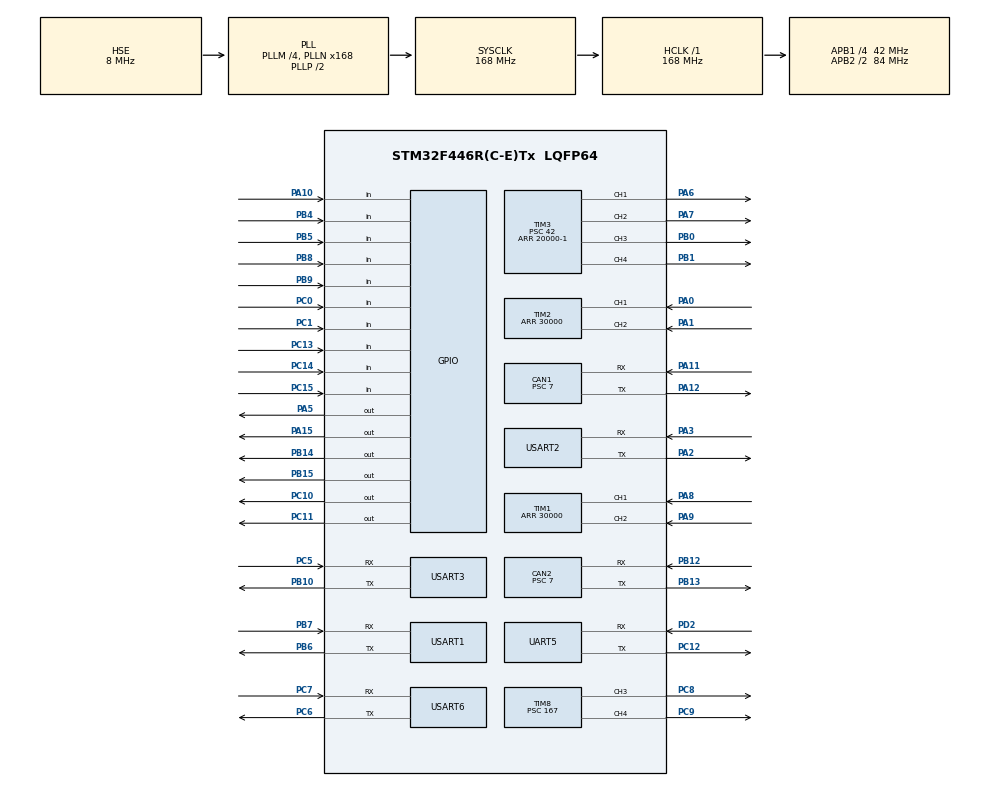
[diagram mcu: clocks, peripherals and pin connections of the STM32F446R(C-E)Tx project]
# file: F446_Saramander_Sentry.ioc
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CAN1.BS1=CAN_BS1_2TQ
CAN1.BS2=CAN_BS2_3TQ
CAN1.CalculateTimeQuantum=166.66666666666669
CAN1.Prescaler=7
CAN2.BS1=CAN_BS1_2TQ
CAN2.BS2=CAN_BS2_3TQ
CAN2.CalculateTimeQuantum=166.66666666666669
CAN2.Prescaler=7
Dma.Request0=USART3_RX
Dma.USART3_RX.0.Direction=DMA_PERIPH_TO_MEMORY
Dma.USART3_RX.0.FIFOMode=DMA_FIFOMODE_DISABLE
Dma.USART3_RX.0.Instance=DMA1_Stream1
Dma.USART3_RX.0.MemDataAlignment=DMA_MDATAALIGN_BYTE
Dma.USART3_RX.0.MemInc=DMA_MINC_ENABLE
Dma.USART3_RX.0.Mode=DMA_CIRCULAR
Dma.USART3_RX.0.PeriphDataAlignment=DMA_PDATAALIGN_BYTE
Dma.USART3_RX.0.PeriphInc=DMA_PINC_DISABLE
Dma.USART3_RX.0.Priority=DMA_PRIORITY_LOW
Mcu.Family=STM32F4
Mcu.Name=STM32F446R(C-E)Tx
Mcu.Package=LQFP64
NVIC.CAN1_RX0_IRQn=true\:1\:0\:true\:false\:true\:true\:true
NVIC.CAN1_RX1_IRQn=true\:2\:0\:true\:false\:true\:true\:true
NVIC.CAN2_RX0_IRQn=true\:3\:0\:true\:false\:true\:true\:true
NVIC.CAN2_RX1_IRQn=true\:4\:0\:true\:false\:true\:true\:true
NVIC.DMA1_Stream1_IRQn=true\:5\:0\:true\:false\:true\:false\:true
NVIC.PriorityGroup=NVIC_PRIORITYGROUP_4
NVIC.TIM7_IRQn=true\:6\:0\:true\:false\:true\:true\:true
PA0-WKUP.Signal=S_TIM2_CH1_ETR
PA1.Signal=S_TIM2_CH2
PA10.Signal=GPIO_Input
PA11.Mode=Master
PA11.Signal=CAN1_RX
PA12.Mode=Master
PA12.Signal=CAN1_TX
PA13.Mode=Serial_Wire
PA13.Signal=SYS_JTMS-SWDIO
PA14.Mode=Serial_Wire
PA14.Signal=SYS_JTCK-SWCLK
PA15.Signal=GPIO_Output
PA2.Mode=Asynchronous
PA2.Signal=USART2_TX
PA3.Mode=Asynchronous
PA3.Signal=USART2_RX
PA5.Signal=GPIO_Output
PA6.Signal=S_TIM3_CH1
PA7.Signal=S_TIM3_CH2
PA8.Signal=S_TIM1_CH1
PA9.Signal=S_TIM1_CH2
PB0.Signal=S_TIM3_CH3
PB1.Signal=S_TIM3_CH4
PB10.Mode=Asynchronous
PB10.Signal=USART3_TX
PB12.Mode=Slave
PB12.Signal=CAN2_RX
PB13.Mode=Slave
PB13.Signal=CAN2_TX
PB14.Signal=GPIO_Output
PB15.Signal=GPIO_Output
PB4.Signal=GPIO_Input
PB5.Signal=GPIO_Input
PB6.Mode=Asynchronous
PB6.Signal=USART1_TX
PB7.Mode=Asynchronous
PB7.Signal=USART1_RX
PB8.Signal=GPIO_Input
PB9.Signal=GPIO_Input
PC0.Signal=GPIO_Input
PC1.Signal=GPIO_Input
PC10.Signal=GPIO_Output
PC11.Signal=GPIO_Output
PC12.Mode=Asynchronous
PC12.Signal=UART5_TX
PC13.Signal=GPIO_Input
PC14-OSC32_IN.Signal=GPIO_Input
PC15-OSC32_OUT.Signal=GPIO_Input
PC5.Mode=Asynchronous
PC5.Signal=USART3_RX
PC6.Mode=Asynchronous
PC6.Signal=USART6_TX
PC7.Mode=Asynchronous
PC7.Signal=USART6_RX
PC8.Signal=S_TIM8_CH3
PC9.Signal=S_TIM8_CH4
PD2.Mode=Asynchronous
PD2.Signal=UART5_RX
PH0-OSC_IN.Mode=HSE-External-Oscillator
PH0-OSC_IN.Signal=RCC_OSC_IN
PH1-OSC_OUT.Mode=HSE-External-Oscillator
PH1-OSC_OUT.Signal=RCC_OSC_OUT
ProjectManager.HeapSize=0x200
ProjectManager.StackSize=0x400
ProjectManager.TargetToolchain=STM32CubeIDE
RCC.AHBFreq_Value=168000000
RCC.APB1CLKDivider=RCC_HCLK_DIV4
RCC.APB1Freq_Value=42000000
RCC.APB1TimFreq_Value=84000000
RCC.APB2CLKDivider=RCC_HCLK_DIV2
RCC.APB2Freq_Value=84000000
RCC.APB2TimFreq_Value=168000000
RCC.CortexFreq_Value=168000000
RCC.HCLKFreq_Value=168000000
RCC.HSE_VALUE=8000000
RCC.PLLM=4
RCC.PLLN=168
RCC.PLLSourceVirtual=RCC_PLLSOURCE_HSE
RCC.SYSCLKFreq_VALUE=168000000
RCC.SYSCLKSource=RCC_SYSCLKSOURCE_PLLCLK
RCC.USBFreq_Value=168000000
RCC.VCOOutputFreq_Value=336000000
SH.S_TIM1_CH1.0=TIM1_CH1,Encoder_Interface
SH.S_TIM1_CH2.0=TIM1_CH2,Encoder_Interface
SH.S_TIM2_CH1_ETR.0=TIM2_CH1,Encoder_Interface
SH.S_TIM2_CH2.0=TIM2_CH2,Encoder_Interface
SH.S_TIM3_CH1.0=TIM3_CH1,PWM Generation1 CH1
SH.S_TIM3_CH2.0=TIM3_CH2,PWM Generation2 CH2
SH.S_TIM3_CH3.0=TIM3_CH3,PWM Generation3 CH3
SH.S_TIM3_CH4.0=TIM3_CH4,PWM Generation4 CH4
SH.S_TIM8_CH3.0=TIM8_CH3,PWM Generation3 CH3
SH.S_TIM8_CH4.0=TIM8_CH4,PWM Generation4 CH4
TIM1.Period=30000
TIM2.Period=30000
TIM3.Channel-PWM\ Generation1\ CH1=TIM_CHANNEL_1
TIM3.Channel-PWM\ Generation2\ CH2=TIM_CHANNEL_2
TIM3.Channel-PWM\ Generation3\ CH3=TIM_CHANNEL_3
TIM3.Channel-PWM\ Generation4\ CH4=TIM_CHANNEL_4
TIM3.Period=20000-1
TIM3.Prescaler=42
TIM7.Period=16800
TIM7.Prescaler=5-1
TIM8.Channel-PWM\ Generation3\ CH3=TIM_CHANNEL_3
TIM8.Channel-PWM\ Generation4\ CH4=TIM_CHANNEL_4
TIM8.Period=20000-1
TIM8.Prescaler=167
UART5.Parity=PARITY_EVEN
UART5.VirtualMode=Asynchronous
UART5.WordLength=WORDLENGTH_9B
USART1.VirtualMode=VM_ASYNC
USART2.VirtualMode=VM_ASYNC
USART3.VirtualMode=VM_ASYNC
USART6.VirtualMode=VM_ASYNC
VP_TIM7_VS_ClockSourceINT.Mode=Enable_Timer
board=custom

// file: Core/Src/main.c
/* USER CODE BEGIN Header */
/**
  ******************************************************************************
  * @file           : main.c
  * @brief          : Main program body
  ******************************************************************************
  * @attention
  *
  * <h2><center>&copy; Copyright (c) 2020 STMicroelectronics.
  * All rights reserved.</center></h2>
  *
  * This software component is licensed by ST under BSD 3-Clause license,
  * the "License"; You may not use this file except in compliance with the
  * License. You may obtain a copy of the License at:
  *                        opensource.org/licenses/BSD-3-Clause
  *
  ******************************************************************************
  */
/* USER CODE END Header */

#include "main.h"
#include "can.h"
#include "dma.h"
#include "tim.h"
#include "usart.h"
#include "gpio.h"

/* USER CODE BEGIN Includes */
#include "management.h"
/* USER CODE END Includes */

/* USER CODE BEGIN PTD */
#ifdef __GNUC__
#define PUTCHAR_PROTOTYPE int __io_putchar(int ch)
#else
#define PUTCHAR_PROTOTYPE int fputc(int ch, FILE *f)
#endif /* __GNUC__ */
void __io_putchar(uint8_t ch) {
HAL_UART_Transmit(&huart1, &ch, 1, 1);
}
/* USER CODE END PTD */

void SystemClock_Config(void);

/* USER CODE BEGIN 0 */
uint8_t program_No;
uint8_t start_sw,move_fire,sw1,sw2,limit_sw1,limit_sw2;
uint8_t cnt_tim,cnt_tim_fire,cnt_tim_task,cnt_time_main,cnt_task_servo;
uint8_t cnt_tim_servo;
void HAL_CAN_RxFifo0MsgPendingCallback(CAN_HandleTypeDef *hcan);
void driveWheelTask();
void initFriction();
void initPID();
void initLoadPID();
void timerTask();
void Gimbal_Task();
void fire_Task();
void initCanFilter() ;
long map(long x, long in_min, long in_max, long out_min, long out_max);

int cnt_tim1;
/* USER CODE END 0 */

int main(void)
{

  /* MCU Configuration--------------------------------------------------------*/

  /* Reset of all peripherals, Initializes the Flash interface and the Systick. */
  HAL_Init();

  /* USER CODE BEGIN Init */
  //No0:not move any-time shoot
  //No1:put center use Cam and shoot
  //No2:put random use Cam and shoot
  /* USER CODE END Init */

  /* Configure the system clock */
  SystemClock_Config();

  /* Initialize all configured peripherals */
  MX_GPIO_Init();
  MX_DMA_Init();
  MX_CAN1_Init();
  MX_CAN2_Init();
  MX_TIM1_Init();
  MX_TIM2_Init();
  MX_TIM3_Init();
  MX_TIM7_Init();
  MX_TIM8_Init();
  MX_UART5_Init();
  MX_USART1_UART_Init();
  MX_USART2_UART_Init();
  MX_USART3_UART_Init();
  MX_USART6_UART_Init();
  /* USER CODE BEGIN 2 */
  setbuf(stdout, NULL);
  sConfigOC.Pulse = 1500;
  HAL_TIM_PWM_ConfigChannel(&htim8, &sConfigOC, TIM_CHANNEL_3);
  HAL_TIM_PWM_Start(&htim8, TIM_CHANNEL_3);
  sConfigOC.Pulse = 1500;
  HAL_TIM_PWM_ConfigChannel(&htim8, &sConfigOC, TIM_CHANNEL_4);
  HAL_TIM_PWM_Start(&htim8, TIM_CHANNEL_4);
  sConfigOC.Pulse = 1500;
  HAL_TIM_PWM_ConfigChannel(&htim3, &sConfigOC, TIM_CHANNEL_1);
  HAL_TIM_PWM_Start(&htim3, TIM_CHANNEL_1);
  sConfigOC.Pulse = 1500;
  HAL_TIM_PWM_ConfigChannel(&htim3, &sConfigOC, TIM_CHANNEL_2);
  HAL_TIM_PWM_Start(&htim3, TIM_CHANNEL_2);
  sConfigOC.Pulse = 1500;
  HAL_TIM_PWM_ConfigChannel(&htim3, &sConfigOC, TIM_CHANNEL_3);
  HAL_TIM_PWM_Start(&htim3, TIM_CHANNEL_3);
  sConfigOC.Pulse = 1500;
  HAL_TIM_PWM_ConfigChannel(&htim3, &sConfigOC, TIM_CHANNEL_4);
  HAL_TIM_PWM_Start(&htim3, TIM_CHANNEL_4);
  if(HAL_TIM_Encoder_Init(&htim1, &sConfig) != HAL_OK){Error_Handler();}
  HAL_TIM_Encoder_Start(&htim1, TIM_CHANNEL_ALL);
  TIM1->CNT=15000;
  if(HAL_TIM_Encoder_Init(&htim2, &sConfig) != HAL_OK){Error_Handler();}
  HAL_TIM_Encoder_Start(&htim2, TIM_CHANNEL_ALL);
  TIM2->CNT=15000;
  HAL_CAN_Start(&hcan1);
  if (HAL_CAN_ActivateNotification(&hcan1, CAN_IT_RX_FIFO0_MSG_PENDING) != HAL_OK){Error_Handler();}
  HAL_CAN_Start(&hcan2);
  if (HAL_CAN_ActivateNotification(&hcan2, CAN_IT_RX_FIFO0_MSG_PENDING) != HAL_OK){Error_Handler();}
  HAL_Delay(1000);
  initPID();
  initLoadPID();
  initCanFilter();
  HAL_UART_Receive_DMA(&huart3,(uint8_t*) Rxbuf_jetson, 7);
  initFriction();
  fire=0.0;
  torque_sum=0.0;
  target_pit=90;
  target_yaw=90;
  target_place=2325;
  HAL_TIM_Base_Start_IT(&htim7);
  program_No=!HAL_GPIO_ReadPin(GPIOB, GPIO_PIN_9)+!HAL_GPIO_ReadPin(GPIOB, GPIO_PIN_8)*2+
 				!HAL_GPIO_ReadPin(GPIOC, GPIO_PIN_13)*4+!HAL_GPIO_ReadPin(GPIOC, GPIO_PIN_14)*8;

	target_pit=70;
	target_yaw=90;
	target_pit_temp=map(target_pit,180,0,4833,10166);
	target_yaw_temp=map(target_yaw,180,0,4833,10166);

  /* USER CODE END 2 */

  /* Infinite loop */
  while (1)
  {

    /* USER CODE BEGIN 3 */
	 //HAL_GPIO_TogglePin(GPIOC, GPIO_PIN_10);
	  HAL_GPIO_WritePin(GPIOA, GPIO_PIN_15,start_sw);
	  //HAL_GPIO_TogglePin(GPIOB, GPIO_PIN_15);
	  printf("start=%d ",start_sw);
	  printf(" E1=%d",(int)TIM1->CNT);
	  printf(" X=%d Y=%d cnt=%d check=%d pit=%d yaw=%d",target_X,target_Y,cnt_tartget,data_Jetson[5],target_pit,target_yaw);
	  printf(" torque_sum=%f cnt_tim1=%d",torque_sum,cnt_tim_servo);
//	 / printf(" sw1=%d sw2=%d",limit_sw1,limit_sw2);
	  //printf(" =%d",ics_set_pos(1,7500));
	  //printf(" =%d",ics_set_pos(2,7500));
	  printf("\r\n");
	  target_X=((data_Jetson[0]<<8) | data_Jetson[1])- 32767;
	  	target_Y=((data_Jetson[2]<<8) | data_Jetson[3])- 32767;
	  	cnt_tartget=data_Jetson[4];

		if(limit_sw1==0){TIM1->CNT=15000;}
		if(limit_sw2==0){TIM1->CNT=16800;}
  }
  /* USER CODE END 3 */
}

void SystemClock_Config(void)
{
  RCC_OscInitTypeDef RCC_OscInitStruct = {0};
  RCC_ClkInitTypeDef RCC_ClkInitStruct = {0};

  /** Configure the main internal regulator output voltage
  */
  __HAL_RCC_PWR_CLK_ENABLE();
  __HAL_PWR_VOLTAGESCALING_CONFIG(PWR_REGULATOR_VOLTAGE_SCALE1);
  /** Initializes the CPU, AHB and APB busses clocks
  */
  RCC_OscInitStruct.OscillatorType = RCC_OSCILLATORTYPE_HSE;
  RCC_OscInitStruct.HSEState = RCC_HSE_ON;
  RCC_OscInitStruct.PLL.PLLState = RCC_PLL_ON;
  RCC_OscInitStruct.PLL.PLLSource = RCC_PLLSOURCE_HSE;
  RCC_OscInitStruct.PLL.PLLM = 4;
  RCC_OscInitStruct.PLL.PLLN = 168;
  RCC_OscInitStruct.PLL.PLLP = RCC_PLLP_DIV2;
  RCC_OscInitStruct.PLL.PLLQ = 2;
  RCC_OscInitStruct.PLL.PLLR = 2;
  if (HAL_RCC_OscConfig(&RCC_OscInitStruct) != HAL_OK)
  {
    Error_Handler();
  }
  /** Initializes the CPU, AHB and APB busses clocks
  */
  RCC_ClkInitStruct.ClockType = RCC_CLOCKTYPE_HCLK|RCC_CLOCKTYPE_SYSCLK
                              |RCC_CLOCKTYPE_PCLK1|RCC_CLOCKTYPE_PCLK2;
  RCC_ClkInitStruct.SYSCLKSource = RCC_SYSCLKSOURCE_PLLCLK;
  RCC_ClkInitStruct.AHBCLKDivider = RCC_SYSCLK_DIV1;
  RCC_ClkInitStruct.APB1CLKDivider = RCC_HCLK_DIV4;
  RCC_ClkInitStruct.APB2CLKDivider = RCC_HCLK_DIV2;

  if (HAL_RCC_ClockConfig(&RCC_ClkInitStruct, FLASH_LATENCY_5) != HAL_OK)
  {
    Error_Handler();
  }
}

/* USER CODE BEGIN 4 */
void HAL_TIM_PeriodElapsedCallback(TIM_HandleTypeDef *htim) {
	if (htim->Instance == htim7.Instance) {
		//1kHz
		if(cnt_tim_task>1){
		//500Hz
		timerTask();
		cnt_tim_task=0;
		}
		cnt_tim_task++;
		if(cnt_tim>100){
			HAL_GPIO_TogglePin(GPIOA, GPIO_PIN_5);
			cnt_tim=0;
			if(temp_data_Jetson!=data_Jetson[5]){
				HAL_GPIO_WritePin(GPIOB, GPIO_PIN_14,1);
				jetson_connect=1;
			}
			else{
				jetson_connect=0;
				HAL_GPIO_WritePin(GPIOB, GPIO_PIN_14,0);
				data_Jetson[0]=0;
				data_Jetson[1]=0;
				data_Jetson[2]=0;
				data_Jetson[3]=0;
				data_Jetson[4]=0;
			}
			temp_data_Jetson=data_Jetson[5];
		}

		cnt_tim++;
	}
}

void HAL_CAN_RxFifo0MsgPendingCallback(CAN_HandleTypeDef *hcan) {
	/* Get RX message */
	if (hcan->Instance == hcan2.Instance) {// can2 bus receive interrupt
		HAL_CAN_GetRxMessage(hcan, CAN_RX_FIFO0, &canRxHeader, canRxData);
		//check ESC identifier
		int id = canRxHeader.StdId - 513;

		wheelFdb[id].angle = canRxData[0] * 256 + canRxData[1];
		wheelFdb[id].rpm = canRxData[2] * 256 + canRxData[3];
		wheelFdb[id].torque = canRxData[4] * 256 + canRxData[5];
		wheelFdb[id].temp = canRxData[6];
		wheelFdb[id].omg = 6.28318530718 * (wheelFdb[id].rpm) / 1140.0;
	}
	if (hcan->Instance == hcan1.Instance) {// can1 bus receive interrupt
		HAL_CAN_GetRxMessage(hcan, CAN_RX_FIFO0, &canRxHeader, canRxData);
		motor_fdb *fdb = 0;
		switch (canRxHeader.StdId) {
		case 0x205:
			fdb = &gimbalYawFdb;
			break;
		case 0x206:
			fdb = &gimbalPitchFdb;
			break;
		case 0x207:
			fdb = &loadMotorFdb;
			break;
		}
		fdb->angle = canRxData[0] * 256 + canRxData[1];
		fdb->rpm = canRxData[2] * 256 + canRxData[3];
		fdb->torque = canRxData[4] * 256 + canRxData[5];
		fdb->temp = canRxData[6];
		fdb->omg = 6.28318530718 * (fdb->rpm) / 1140.0;
	}
}

void HAL_UART_RxCpltCallback(UART_HandleTypeDef *UartHandle) {
	uint8_t j = 0;
	while (Rxbuf_jetson[j] != 253 &&  j<sizeof(Rxbuf_jetson)) {
		j++;
	}
	if(j>=sizeof(Rxbuf_jetson)){
		for(uint8_t k=0;k<(sizeof(data_Jetson));k++){
			data_Jetson[k]=0;
		}
	}
	else{
		for (uint8_t k = 0; k < sizeof(data_Jetson); k++) {
			if ((j + k) >= sizeof(data_Jetson)) {
				data_Jetson[k] = Rxbuf_jetson[k - (sizeof(data_Jetson) - j)];
			}
			else {
				data_Jetson[k] = Rxbuf_jetson[j + k + 1];
			}
		}
	}

}

void timerTask() { //call 500Hz
	driveWheelTask();
	Gimbal_Task();
	fire_Task();
	limit_sw1=HAL_GPIO_ReadPin(GPIOC, GPIO_PIN_15);
	limit_sw2=HAL_GPIO_ReadPin(GPIOC, GPIO_PIN_0);
	start_sw=HAL_GPIO_ReadPin(GPIOC, GPIO_PIN_1);
	move_fire=HAL_GPIO_ReadPin(GPIOB, GPIO_PIN_5);
	sw1=HAL_GPIO_ReadPin(GPIOB, GPIO_PIN_4);
	sw2=HAL_GPIO_ReadPin(GPIOA, GPIO_PIN_10);
	program_No=!HAL_GPIO_ReadPin(GPIOB, GPIO_PIN_9)+!HAL_GPIO_ReadPin(GPIOB, GPIO_PIN_8)*2+
	 				!HAL_GPIO_ReadPin(GPIOC, GPIO_PIN_13)*4+!HAL_GPIO_ReadPin(GPIOC, GPIO_PIN_14)*8;
}

void driveWheelTask() {
	int16_t u[4];
	cnt_tim1=15000-TIM1->CNT;
	if(start_sw==0){
		if(program_No==0){
			//target_place=2325;
			target_place=15000-TIM1->CNT;
		}
		else if(program_No==1){
			target_place=900;
		}
		else if(program_No==2){
			if(abs((int)target_place-cnt_tim1)<10){target_place=(int)(rand()*(1300.0-500.0+1.0)/(1.0+RAND_MAX));}
			if(target_place>1300){target_place=1300;}
			if(target_place<500){target_place=500;}
		}
		else{target_place=15000-TIM1->CNT;}

		if(limit_sw1==0){TIM1->CNT=15000;}
		if(limit_sw2==0){TIM1->CNT=16800;}

		if(abs((int)target_place-cnt_tim1)<10){
			mecanum.wheel_rpm[0]=0.0;
			mecanum.wheel_rpm[1]=0.0;
		}
		else if(((int)target_place-cnt_tim1)<0){
			if((float)abs((int)cnt_tim1-target_place)>1500){
				mecanum.wheel_rpm[0]=4000;
				mecanum.wheel_rpm[1]=4000;
			}
			else{
				mecanum.wheel_rpm[0]=(float)map(abs((int)cnt_tim1-target_place),0,1500,1000,4000);
				mecanum.wheel_rpm[1]=(float)map(abs((int)cnt_tim1-target_place),0,1500,1000,4000);
			}
		}
		else if(((int)target_place-cnt_tim1)>0){
			if((float)abs((int)cnt_tim1-target_place)>1500){
				mecanum.wheel_rpm[0]=-4000;
				mecanum.wheel_rpm[1]=-4000;
			}
			else{
				mecanum.wheel_rpm[0]=(float)-1.0*map(abs((int)cnt_tim1-target_place),0,1500,1000,4000);
				mecanum.wheel_rpm[1]=(float)-1.0*map(abs((int)cnt_tim1-target_place),0,1500,1000,4000);
			}
		}
		else{
			mecanum.wheel_rpm[0]=0.0;
			mecanum.wheel_rpm[1]=0.0;
		}

		if(sw1==0){
			mecanum.wheel_rpm[0]=1200;
			mecanum.wheel_rpm[1]=1200;
			target_place=15000-TIM1->CNT;
		}
		else if(sw2==0){
			mecanum.wheel_rpm[0]=-1200;
			mecanum.wheel_rpm[1]=-1200;
			target_place=15000-TIM1->CNT;
		}

	}
	else{
		mecanum.wheel_rpm[0]=0.0;
		mecanum.wheel_rpm[1]=0.0;
	}

	    torque_sum = fabs((float)wheelFdb[0].torque/16384.0*20.0)+fabs((float)wheelFdb[1].torque/16384.0*20.0);
	for (int i = 0; i < 2; i++) {
		int error = mecanum.wheel_rpm[i] - wheelFdb[i].rpm;
		wheelPID[i].error = error;
		u[i] = (int16_t) pidExecute(&(wheelPID[i]));

		if(torque_sum>2.5){
			for (int i = 0; i < 2; i++) {
				u[i] = 0;
			}
		}
	}
	driveWheel(u);
}
void Gimbal_Task(){
	if(cnt_task_servo>30){
		if(start_sw==0){
			if(program_No>0){
				if(jetson_connect==1){
					if(cnt_tartget>0){
							target_yaw=target_yaw-map(target_X,480,-480,30,-30);
							target_pit=target_pit-map(target_Y,360,-360,30,-30);

							if(target_yaw>160){target_yaw=160;}
							if(target_yaw<20){target_yaw=20;}
							if(target_pit>90){target_pit=90;}
							if(target_pit<45){target_pit=45;}

							target_pit_temp=map(target_pit,180,0,4833,10166);
							target_yaw_temp=map(target_yaw,180,0,4833,10166);
							now_pit=ics_set_pos(2,target_pit_temp);
							now_yaw=ics_set_pos(1,target_yaw_temp);

							if(abs(target_X)<20 && abs(target_X)<20){
								fire=1.0;
							}
							else{
								fire=0.0;
							}
							cnt_tim_servo=0;
					}
					else{
						if(cnt_tim_servo>20){
							target_pit=70;
							target_yaw=90;
							target_pit_temp=map(target_pit,180,0,4833,10166);
							target_yaw_temp=map(target_yaw,180,0,4833,10166);
							now_pit=ics_set_pos(2,target_pit_temp);
							now_yaw=ics_set_pos(1,target_yaw_temp);
							cnt_tim_servo=0;
						}
						else{
						now_pit=ics_set_pos(2,target_pit_temp);
						now_yaw=ics_set_pos(1,target_yaw_temp);
						fire=0.0;
						cnt_tim_servo++;
						}
					}
				}
			}
			else if(start_sw==0){
				cnt_tim_servo=0;
				ics_set_pos(2,map(80,180,0,4833,10166));
				ics_set_pos(1,map(90,180,0,4833,10166));
				target_pit=90;
				target_yaw=90;
				fire=1.0;

			}
			else{
				cnt_tim_servo=0;
				ics_set_pos(2,map(90,180,0,4833,10166));
				ics_set_pos(1,map(90,180,0,4833,10166));
				target_pit=90;
				target_yaw=90;
				fire=0.0;
			}
		}
		else{
			cnt_tim_servo=0;
			ics_set_pos(2,map(90,180,0,4833,10166));
			ics_set_pos(1,map(90,180,0,4833,10166));
			target_pit=90;
			target_yaw=90;
			fire=0.0;
		}

		cnt_task_servo=0;
	}
	else{
		cnt_task_servo++;
	}

}

void fire_Task(){
	int16_t u[4];
	if(fire>1.0){
		fire=0.0;
	}
	if(start_sw==1){
		DBUFF[1] = loadPID.error = 0.0 - loadMotorFdb.rpm;
		DBUFF[3] = u[2] = pidExecute(&loadPID);
		u[2]=0;
		u[0]=0;
		u[1]=0;
		u[3]=0;
		driveGimbalMotors(u);

	}
	else{
		DBUFF[1] = loadPID.error = -900.0f*fire*2.0 - loadMotorFdb.rpm;
		DBUFF[3] = u[2] = pidExecute(&loadPID);
		u[0]=0;
		u[1]=0;
		u[3]=0;
		driveGimbalMotors(u);

	}

	if(move_fire==0){
		 sConfigOC.Pulse = 1650;
		 HAL_TIM_PWM_ConfigChannel(&htim8, &sConfigOC, TIM_CHANNEL_3);
		 HAL_TIM_PWM_Start(&htim8, TIM_CHANNEL_3);
		 sConfigOC.Pulse = 1650;
		 HAL_TIM_PWM_ConfigChannel(&htim8, &sConfigOC, TIM_CHANNEL_4);
		 HAL_TIM_PWM_Start(&htim8, TIM_CHANNEL_4);
	}
	else{
		 sConfigOC.Pulse = 1500;
		 HAL_TIM_PWM_ConfigChannel(&htim8, &sConfigOC, TIM_CHANNEL_3);
		 HAL_TIM_PWM_Start(&htim8, TIM_CHANNEL_3);
		 sConfigOC.Pulse = 1500;
		 HAL_TIM_PWM_ConfigChannel(&htim8, &sConfigOC, TIM_CHANNEL_4);
		 HAL_TIM_PWM_Start(&htim8, TIM_CHANNEL_4);
	}
}

void initFriction() {
	for(int i=0;i<2000;i++){
		HAL_Delay(1);
		  sConfigOC.Pulse = 2000;
		  HAL_TIM_PWM_ConfigChannel(&htim8, &sConfigOC, TIM_CHANNEL_3);
		  HAL_TIM_PWM_Start(&htim8, TIM_CHANNEL_3);
		  sConfigOC.Pulse = 2000;
		  HAL_TIM_PWM_ConfigChannel(&htim8, &sConfigOC, TIM_CHANNEL_4);
		  HAL_TIM_PWM_Start(&htim8, TIM_CHANNEL_4);
	}
	for(int i=0;i<2300;i++){
		HAL_Delay(1);
		  sConfigOC.Pulse = 1500;
		  HAL_TIM_PWM_ConfigChannel(&htim8, &sConfigOC, TIM_CHANNEL_3);
		  HAL_TIM_PWM_Start(&htim8, TIM_CHANNEL_3);
		  sConfigOC.Pulse = 1500;
		  HAL_TIM_PWM_ConfigChannel(&htim8, &sConfigOC, TIM_CHANNEL_4);
		  HAL_TIM_PWM_Start(&htim8, TIM_CHANNEL_4);
	}

}
void initPID() {
	for (int i = 0; i < 4; i++) {
		wheelPID[i].t = 2.0f;
		wheelPID[i].p = 3.0f;
		wheelPID[i].i = 30.0f;
		wheelPID[i].d = 0.0f;
		wheelPID[i].outLimit = 15000.0f;
		wheelPID[i].integralOutLimit = 500.0f;
		wheelPID[i].differentialFilterRate = 0.9f;
	}
}

void initLoadPID() {
	loadPID.t = 2.0f;
	loadPID.p = 5.0f;
	loadPID.i = 0.0;
	loadPID.d = 0.07f;
	loadPID.outLimit = 30000.0f;
	loadPID.integralOutLimit = 10000.0f;
	loadPID.differentialFilterRate = 0.9f;
}

void initCanFilter() {
	CAN_FilterTypeDef sFilterConfig;
	sFilterConfig.FilterBank = 0;
	sFilterConfig.FilterMode = CAN_FILTERMODE_IDMASK;
	sFilterConfig.FilterScale = CAN_FILTERSCALE_32BIT;
	sFilterConfig.FilterIdHigh = 0x0000;
	sFilterConfig.FilterIdLow = 0x0000;
	sFilterConfig.FilterMaskIdHigh = 0x0000;
	sFilterConfig.FilterMaskIdLow = 0x0000;
	sFilterConfig.FilterFIFOAssignment = CAN_RX_FIFO0;
	sFilterConfig.FilterActivation = ENABLE;
	sFilterConfig.SlaveStartFilterBank = 0;

	HAL_CAN_ConfigFilter(&hcan1, &sFilterConfig);

	sFilterConfig.SlaveStartFilterBank = 0;
	sFilterConfig.FilterBank = 0;

	HAL_CAN_ConfigFilter(&hcan2, &sFilterConfig);
}

long map(long x, long in_min, long in_max, long out_min, long out_max) {
	  return (x - in_min) * (out_max - out_min) / (in_max - in_min) + out_min;
	}

/* USER CODE END 4 */

void Error_Handler(void)
{
}

/************************ (C) COPYRIGHT STMicroelectronics *****END OF FILE****/
